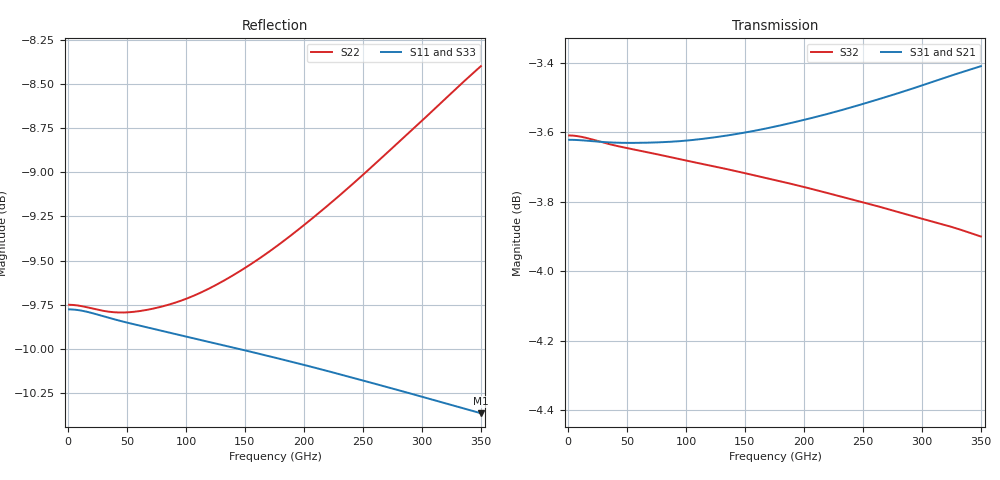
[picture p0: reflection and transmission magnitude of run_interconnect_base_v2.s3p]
#  Hz  S  RI  R  50
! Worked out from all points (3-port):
!   400 points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, 875 MHz to 350 GHz, reference 50 ohm
!   strongest paths, dB at 875 MHz, 88.38 GHz, 175.9 GHz, 263.4 GHz, 350 GHz:
!     S31: -3.6, -3.6, -3.6, -3.5, -3.4
!     S21: -3.5, -3.6, -3.7, -3.7, -3.8
!     S32: -3.6, -3.7, -3.7, -3.8, -3.9
!   lowest |S11| = -10.4 dB at 350 GHz (marker M1), VSWR 1.87, Z = 27.9 + j8.91 ohm
!   |S11| at or under -10 dB: 144.9 GHz to end of sweep
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8.75e8  -0.3245 0.000514  0.6652 -0.00137  0.6591 -0.000672
        0.6652 -0.00137  -0.3255 0.00144  0.66 -0.0016
        0.6591 -0.00068  0.66 -0.00161  -0.3193 0.000777
1.75e10  -0.3237 0.01  0.6642 -0.0272  0.6587 -0.0133
         0.6642 -0.0271  -0.3236 0.0284  0.6586 -0.0317
         0.6587 -0.0135  0.6586 -0.0318  -0.3181 0.0152
4.025e10  -0.3216 0.0218  0.6609 -0.0614  0.6578 -0.03
          0.6609 -0.0614  -0.3177 0.063  0.6539 -0.0713
          0.6577 -0.0303  0.6539 -0.0715  -0.3147 0.0329
8.575e10  -0.3167 0.0431  0.6493 -0.1284  0.6557 -0.0627
          0.6493 -0.1282  -0.2993 0.1279  0.6385 -0.1477
          0.6556 -0.0633  0.6384 -0.1481  -0.3061 0.0654
1.30375e11  -0.3108 0.0628  0.6312 -0.1919  0.6532 -0.0948
            0.6311 -0.1915  -0.2724 0.1869  0.6149 -0.2196
            0.6529 -0.0957  0.6147 -0.2202  -0.295 0.0952
1.75875e11  -0.3035 0.0819  0.6062 -0.2538  0.6499 -0.1281
            0.606 -0.2531  -0.2363 0.2416  0.5826 -0.2889
            0.6493 -0.1292  0.5822 -0.2897  -0.2809 0.1236
2.21375e11  -0.2952 0.0999  0.5749 -0.3121  0.6454 -0.1622
            0.5747 -0.3111  -0.1923 0.2894  0.5426 -0.3532
            0.6445 -0.1634  0.542 -0.3542  -0.2641 0.1498
2.66e11  -0.2859 0.1165  0.5387 -0.3651  0.6396 -0.1964
         0.5387 -0.3638  -0.1427 0.3286  0.4965 -0.4108
         0.6383 -0.1977  0.4957 -0.4119  -0.2454 0.1732
3.08875e11  -0.2763 0.1315  0.4995 -0.4117  0.6323 -0.2301
            0.4996 -0.41  -0.0903 0.3581  0.4468 -0.4602
            0.6308 -0.2313  0.4456 -0.4614  -0.2256 0.1934
3.5e11  -0.2664 0.1448  0.4581 -0.4522  0.6235 -0.263
        0.4585 -0.45  -0.0366 0.3784  0.3945 -0.5019
        0.6216 -0.2641  0.393 -0.503  -0.2051 0.2105
